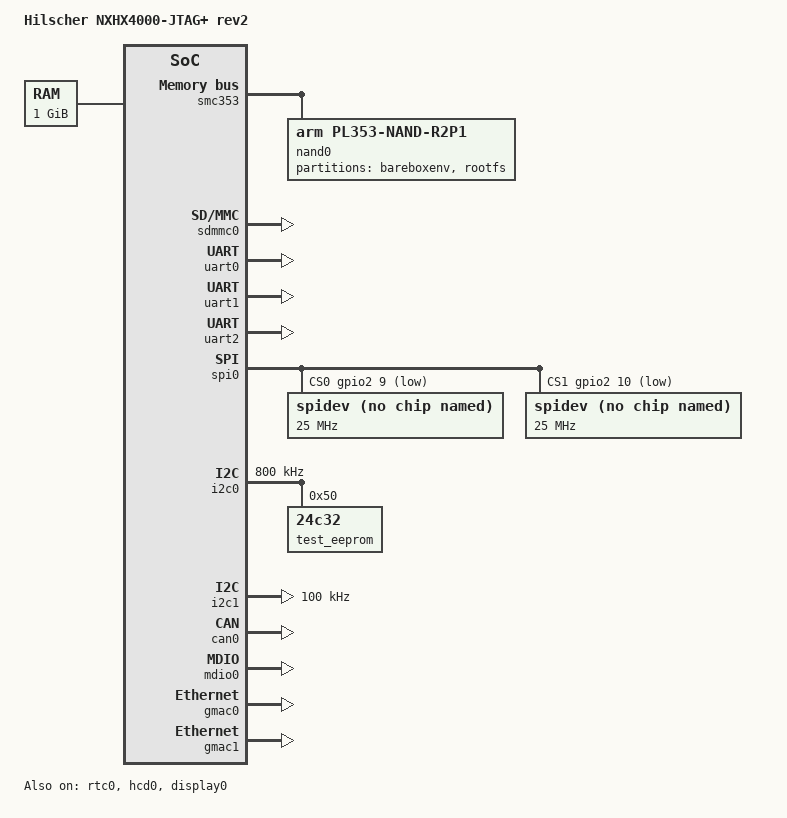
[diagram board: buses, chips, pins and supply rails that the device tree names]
/*
* Device tree for Hilscher netX4000 based NXHX4000-JTAG+ rev2 boards
*
* arch/arm/boot/dts/nxhx4000-jtag-plus_rev2.dts
*
* (C) Copyright 2015 Hilscher Gesellschaft fuer Systemautomation mbH
* http://www.hilscher.com
*
* This program is free software; you can redistribute it and/or
* modify it under the terms of the GNU General Public License as
* published by the Free Software Foundation; version 2 of
* the License.
*
* This program is distributed in the hope that it will be useful,
* but WITHOUT ANY WARRANTY; without even the implied warranty of
* MERCHANTABILITY or FITNESS FOR A PARTICULAR PURPOSE.  See the
* GNU General Public License for more details.
*
*/

/dts-v1/;

#include "netx4000-common.dtsi"

/ {
	model = "Hilscher NXHX4000-JTAG+ rev2";
	compatible = "hilscher,netx4000";

	chosen {
		linux,stdout-path = &uart0;
	};

	memory {
		device_type = "memory";
		reg = <0x40000000 0x40000000>;
	};
};

&smc353 {
	status = "ok";
	#address-cells = <1>;
	#size-cells = <1>;
	/* Note: supported ecc-mode is limited to bch-ecc */
	nand0: nand@0 {
		status = "disabled";
		pinctrl-names = "default";
		pinctrl-0 = <&nand8_pins>;
		compatible = "arm,pl353-nand-r2p1";
		reg = <0x0a000000 0x1000000>;
		cs-addr = <0x0a>;
		if = <1>; /* interface */
		cs = <0>; /* chipselect on interface <if> */
		nand,tAR-ns=<20>;
		nand,tCLR-ns=<20>;
		nand,tRC-ns=<40>;
		nand,tREA-ns=<10>;
		nand,tRR-ns=<40>;
		nand,tWC-ns=<40>;
		nand,tWP-ns=<20>;
	};
};

&nand0 {
	status = "ok";
	/* NXHX4000-JTAG+ has 512MB NAND */
	#address-cells = <1>;
	#size-cells = <1>;
	partition@0 {
		label = "bareboxenv";
		reg = <0x00000000 0x20000>; /* 128 kB */
	};
	partition@1 {
		label = "rootfs";
		reg = <0x00020000 (0x20000000 - 0x20000)>; /* rest of 512MB */
	};
};

&sdmmc0 {
	status = "ok";
};

&rtc0 {
	status = "ok";
};

&uart0 {
	status = "ok";
	pinctrl-names = "default";
	pinctrl-0 = <&uart0_pins>;
};

&uart1 {
	status = "ok";
	pinctrl-names = "default";
	pinctrl-0 = <&uart1_pins>;
};

&uart2 {
	status = "ok";
	pinctrl-names = "default";
	pinctrl-0 = <&uart2_pins_noflow>;
};

&spi0 {
	status = "ok";
	pinctrl-names = "default";
	pinctrl-0 = <&spi0_pins &spi0_cs_pins>;
	num-cs = <2>;
	cs-gpios = <&gpio2 9 GPIO_ACTIVE_LOW>,
	           <&gpio2 10 GPIO_ACTIVE_LOW>;
	#address-cells = <1>;
	#size-cells = <0>;
	spidev@0 {
		compatible = "spidev";
		reg = <0x0>;
		spi-max-frequency = <25000000>;
		/* Uncomment the line below to enable DMA.
		 * Note: DMA works only for transfer modes with 9bits and more */
//		pl022,com-mode = <0x2>;
	};
	spidev@1 {
		compatible = "spidev";
		reg = <0x1>;
		spi-max-frequency = <25000000>;
		/* Uncomment the line below to enable DMA.
		 * Note: DMA works only for transfer modes with 9bits and more */
//		pl022,com-mode = <0x2>;
	};
};

&i2c0 {
	status = "ok";
	clock-frequency = <800000>;
	/* Uncomment the line below to enable the polling mode. */
//	interrupts = <0>;
	#address-cells = <1>;
	#size-cells = <0>;
	test_eeprom@50 {
		/* The 'NXHX4000 JTAG+ rev2' board is populated with a 24FC1025.
		 * We use the 24c32 only for testing (16bit access!). */
		compatible = "24c32";
		reg = <0x50>;
		pagesize = <128>;
	};
};

&i2c1 {
	status = "ok";
	clock-frequency = <100000>;
};

&gpio0 {
	status = "ok";
	pinctrl-names = "default";
	pinctrl-0 = <&gpio0_pins>;
};

&gpio1 {
	status = "ok";
	pinctrl-names = "default";
	pinctrl-0 = <&gpio1_pins>;
};

/* The gpio2 is required by spi0 which uses some gpios as chip select pins. */
&gpio2 {
	status = "ok";
};

&pinctrl {
	gpio0_pins: gpio0_pins {
		pinctrl-single,pins = <
			MUX_PIN(3,9)   (REEMUX_1 | REEMUX_DRV_06MA | REEMUX_UDC_NONE)  // MMIO9
			MUX_PIN(3,10)  (REEMUX_1 | REEMUX_DRV_06MA | REEMUX_UDC_NONE)  // MMIO10
			MUX_PIN(3,11)  (REEMUX_1 | REEMUX_DRV_06MA | REEMUX_UDC_NONE)  // MMIO11
			MUX_PIN(3,12)  (REEMUX_1 | REEMUX_DRV_06MA | REEMUX_UDC_NONE)  // MMIO12
			MUX_PIN(3,13)  (REEMUX_1 | REEMUX_DRV_06MA | REEMUX_UDC_NONE)  // MMIO13
			MUX_PIN(3,14)  (REEMUX_1 | REEMUX_DRV_06MA | REEMUX_UDC_NONE)  // MMIO14
			MUX_PIN(3,15)  (REEMUX_1 | REEMUX_DRV_06MA | REEMUX_UDC_NONE)  // MMIO15
		>;
	};

	gpio1_pins: gpio1_pins {
		pinctrl-single,pins = <
			MUX_PIN(4,0)   (REEMUX_1 | REEMUX_DRV_06MA | REEMUX_UDC_NONE)  // MMIO16
			MUX_PIN(4,1)   (REEMUX_1 | REEMUX_DRV_06MA | REEMUX_UDC_NONE)  // MMIO17
			MUX_PIN(4,2)   (REEMUX_1 | REEMUX_DRV_06MA | REEMUX_UDC_NONE)  // MMIO18
			MUX_PIN(4,3)   (REEMUX_1 | REEMUX_DRV_06MA | REEMUX_UDC_NONE)  // MMIO19
			MUX_PIN(4,4)   (REEMUX_1 | REEMUX_DRV_06MA | REEMUX_UDC_NONE)  // MMIO20
			MUX_PIN(4,5)   (REEMUX_1 | REEMUX_DRV_06MA | REEMUX_UDC_NONE)  // MMIO21
			MUX_PIN(4,6)   (REEMUX_1 | REEMUX_DRV_06MA | REEMUX_UDC_NONE)  // MMIO22
			MUX_PIN(4,7)   (REEMUX_1 | REEMUX_DRV_06MA | REEMUX_UDC_NONE)  // MMIO23
		>;
	};

	spi0_cs_pins: spi0_cs_pins {
		pinctrl-single,pins = <
			MUX_PIN(5,9)   (REEMUX_1 | REEMUX_DRV_06MA | REEMUX_UDC_PULLUP50K)  // MMIO41 => GPIO2_9 => PL022_CS0
			MUX_PIN(5,10)  (REEMUX_1 | REEMUX_DRV_06MA | REEMUX_UDC_PULLUP50K)  // MMIO42 => GPIO2_10 => PL022_CS1
		>;
	};
};

&hcd0 {
	status = "ok";
	num-ports = <2>; /* 1 or 2 */
	pinctrl-names = "default";
	pinctrl-0 = <&hcd0_0_pins &hcd0_1_pins>;
};

&can0 {
	status = "ok";

	channels = <0 1>;

	pinctrl-names = "default";
	pinctrl-0 = <&can0_0_pins &can0_1_pins>;
};

&mdio0 {
	status = "ok";
};

&gmac0 {
	status = "ok";
};

&gmac1 {
	status = "ok";
};

&display0 {
	status = "ok";

	pixel-format = <RGB565>;

	display-timings {
		native-mode = <&etq570g0dh6_ntsc>;
		etq570g0dh6_ntsc: ntsc {
			/* edt,etq570g0dh6 ntsc*/
			clock-frequency = <6400000>;
			hactive = <320>;
			vactive = <240>;
			hfront-porch = <20>;
			hback-porch = <38>;
			hsync-len = <30>;
			vfront-porch = <5>; /* 4.5 */
			vback-porch = <16>; /* 15 */
			vsync-len = <3>;
			hsync-active = <0>;
			vsync-active = <0>;
//			de-active = <1>;
			pixelclk-active = <1>;
//			interlaced = <1>;
//			doublescan = <1>;
//			doubleclk =<1>;
		};
	};
};

